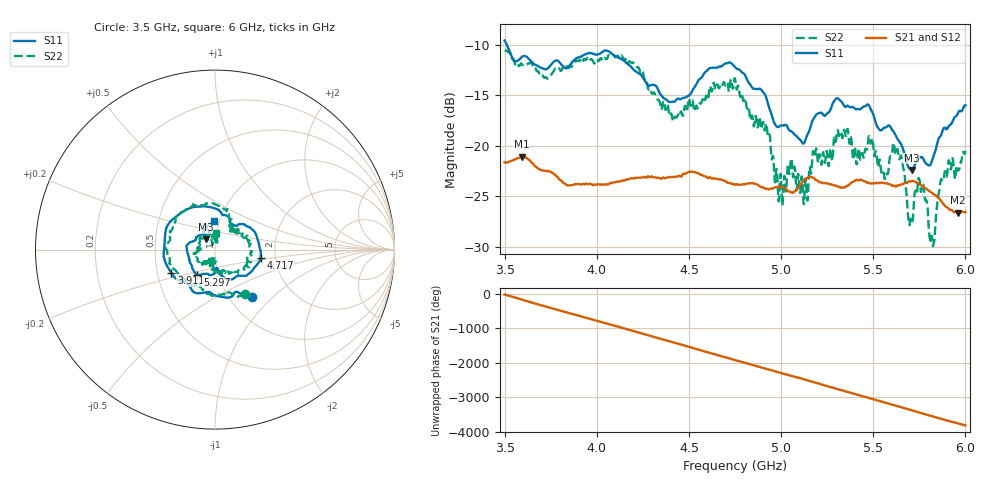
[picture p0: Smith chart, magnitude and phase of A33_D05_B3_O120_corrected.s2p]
! Created with skrf 1.9.0 (http://scikit-rf.org).
# Hz S RI R 50.0
!freq ReS11 ImS11 ReS21 ImS21 ReS12 ImS12 ReS22 ImS22
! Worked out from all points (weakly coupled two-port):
!   1601 points, 3.5 GHz to 6 GHz, reference 50 ohm
!   highest |S21| = -21.07 dB at 3.592 GHz (marker M1); lowest = -26.6 dB at 5.958 GHz (marker M2)
!   lowest |S11| = -22.4 dB at 5.708 GHz (marker M3), VSWR 1.16, Z = 45.1 + j5.29 ohm
!   |S11| at or under -10 dB: 3.513 GHz to end of sweep
!   |S22| runs from -29.9 to -10.5 dB; largest |S21 - S12| = 0.00098
!   S11 on the Smith chart (normalised r, x): 3.5 GHz: 1.27, -0.75; 3.911 GHz: 0.59, -0.17; 4.717 GHz: 1.67, -0.16; 5.297 GHz: 0.79, -0.23; 6 GHz: 0.94, +0.31
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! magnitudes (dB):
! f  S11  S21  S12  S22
! 3.5 GHz  -9.6  -21.6  -21.6  -10.5
! 3.592 GHz  -11.2  -21.1  -21.1  -11.9
! 3.911 GHz  -11.2  -23.8  -23.8  -11.5
! 3.917 GHz  -11.2  -23.8  -23.8  -11.8
! 4.142 GHz  -11.5  -23.4  -23.4  -11.3
! 4.334 GHz  -14.5  -23.2  -23.1  -15.4
! 4.717 GHz  -11.7  -23.7  -23.7  -14.6
! 4.75 GHz  -12.2  -23.9  -23.8  -13.4
! 4.928 GHz  -15.8  -24.3  -24.3  -19.0
! 4.997 GHz  -18.0  -24.1  -24.0  -22.8
! 5.048 GHz  -18.5  -24.5  -24.6  -22.3
! 5.133 GHz  -19.4  -23.2  -23.2  -23.3
! 5.167 GHz  -17.7  -23.1  -23.1  -21.8
! 5.297 GHz  -15.4  -23.9  -23.9  -19.6
! 5.584 GHz  -18.0  -23.8  -23.8  -22.1
! 5.644 GHz  -19.6  -23.9  -23.9  -21.3
! 5.708 GHz  -22.4  -23.5  -23.5  -27.5
! 5.758 GHz  -21.1  -23.9  -23.8  -24.5
! 5.822 GHz  -21.3  -24.7  -24.7  -29.6
! 5.875 GHz  -18.6  -25.6  -25.6  -23.4
! 5.958 GHz  -16.8  -26.6  -26.6  -22.4
! 6 GHz  -16.0  -26.6  -26.5  -20.5
